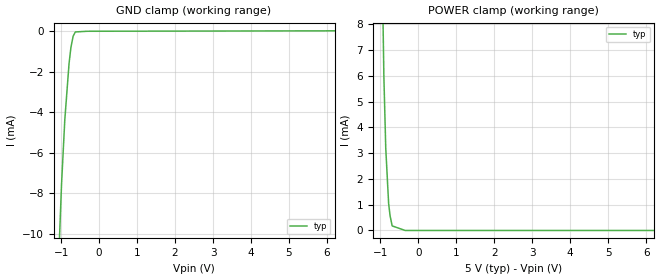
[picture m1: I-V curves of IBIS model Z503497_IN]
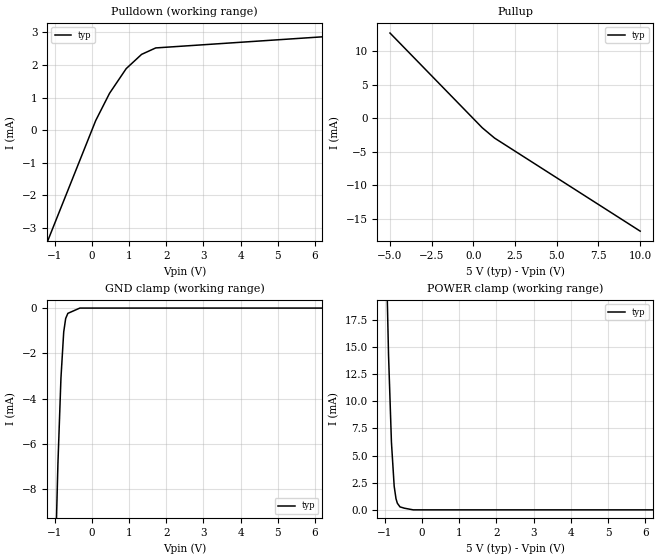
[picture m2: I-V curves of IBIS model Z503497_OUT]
| YOU ARE ONLY AUTHORIZED TO USE THIS SOFTWARE
| ACCORDING TO LICENSOR'S LICENSE RESTRICTIONS.
[IBIS Ver] 3.1
[File Name] mc14022bcl.ibs
[File Rev] 2.0
[Source] Measured and created by ICX Technology
[Date] Friday 7/14/00 9:07:51 AM
[Copyright]
| (C) COPYRIGHT 1993-2000
| MENTOR GRAPHICS CORPORATION
| ICX STANDARD LIBRARY, ICX PROJECT MODELING,
| ICX CUSTOM MODELING, ICX VENDOR MODEL
| ALL RIGHTS RESERVED.
| THE FOLLOWING ARE TRADEMARKS OR SERVICE MARKS OF
| MENTOR GRAPHICS CORPORATION:ICX (R), ICX STANDARD
| LIBRARY(R), ICX PROJECT MODELING(R), ICX CUSTOM
| MODELING(R), qualityIBIS(TM), MODELVIEWER(TM),
| AND MODELEDITOR(TM)
| ALL COPIES OF SOFTWARE, INCLUDING BUT NOT LIMITED TO
| ANY MODIFICATIONS, ENHANCEMENTS OR DERIVATIVE WORKS,
| MUST CONTAIN ALL MENTOR GRAPHICS CORPORATION'S
| NOTICES AND LEGENDS, INCLUDING THOSE EMBEDDED IN
| SOFTWARE AND THOSE AFFIXED TO SOFTWARE MEDIUM
| AND CONTAINER, AS RECEIVED FROM MENTOR GRAPHICS
| CORPORATION.
|  ZAP Model Builder 2.7
[Component] MC14022BCL
[Manufacturer] OnSemiconductor
[Package]
| variable   typ   min   max
R_pkg  .212ohms NA NA
L_pkg  4.758nH NA NA
C_pkg  1.944pF NA NA
[Pin] signal_name  model_name  R_pin  L_pin C_pin
1 Q1 Z503497_OUT .224 7.258n 2.683p
2 Q0 Z503497_OUT .216 5.258n 2.19p
3 Q2 Z503497_OUT .208 3.758n 1.697p
4 Q5 Z503497_OUT .2 2.758n 1.204p
5 Q6 Z503497_OUT .2 2.758n 1.204p
6 NC NC .208 3.758n 1.697p
7 Q3 Z503497_OUT .216 5.258n 2.19p
8 VSS POWER .224 7.258n 2.683p
9 NC NC .224 7.258n 2.683p
10 Q7 Z503497_OUT .216 5.258n 2.19p
11 Q4 Z503497_OUT .208 3.758n 1.697p
12 COUT Z503497_OUT .2 2.758n 1.204p
13 _CE Z503497_IN .2 2.758n 1.204p
14 C Z503497_IN .208 3.758n 1.697p
15 R Z503497_IN .216 5.258n 2.19p
16 VDD POWER .224 7.258n 2.683p
| Models and submodels in the file (2): Z503497_IN (Input), Z503497_OUT (Output)
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| (C) COPYRIGHT 1993-2000
| MENTOR GRAPHICS CORPORATION
| ICX STANDARD LIBRARY, ICX PROJECT MODELING,
| ICX CUSTOM MODELING, ICX VENDOR MODEL
| ALL RIGHTS RESERVED.
| THE FOLLOWING ARE TRADEMARKS OR SERVICE MARKS OF
| MENTOR GRAPHICS CORPORATION:ICX (R), ICX STANDARD
| LIBRARY(R), ICX PROJECT MODELING(R), ICX CUSTOM
| MODELING(R), qualityIBIS(TM), MODELVIEWER(TM),
| AND MODELEDITOR(TM)
| ALL COPIES OF SOFTWARE, INCLUDING BUT NOT LIMITED TO
| ANY MODIFICATIONS, ENHANCEMENTS OR DERIVATIVE WORKS,
| MUST CONTAIN ALL MENTOR GRAPHICS CORPORATION'S
| NOTICES AND LEGENDS, INCLUDING THOSE EMBEDDED IN
| SOFTWARE AND THOSE AFFIXED TO SOFTWARE MEDIUM
| AND CONTAINER, AS RECEIVED FROM MENTOR GRAPHICS
| CORPORATION.
| Model Application Version 1.89 2/18/99.
[Model] Z503497_IN
Model_type Input
Vinl = 1.500V
Vinh = 3.500V
C_comp 4.000pF NA NA
| variable typ   min   max
[Voltage Range] 5.000V NA NA
[GND Clamp Reference] 0.000V NA NA
[POWER Clamp Reference] 5.000V NA NA
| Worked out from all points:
|   GND clamp passes 1 mA (typ) near -0.75 V on its own axis
|   POWER clamp passes 1 mA (typ) near -0.78 V on its own axis
[GND Clamp]
-5V       -408.6mA   NA         NA
-1.308V   -27.72mA   NA         NA
-1.123V   -14.17mA   NA         NA
-989.2mV  -7.567mA   NA         NA
-903.3mV  -4.385mA   NA         NA
-791mV    -1.597mA   NA         NA
-742mV    -811uA     NA         NA
-683.6mV  -255uA     NA         NA
-625.1mV  -45.77uA   NA         NA
-312.6mV  -12.87uA   NA         NA
10V       21.7uA     NA         NA
[POWER Clamp]
-5V       696.6mA    NA         NA
-1.2V     42.45mA    NA         NA
-1.03V    17.84mA    NA         NA
-906mV    5.967mA    NA         NA
-857mV    3.204mA    NA         NA
-781mV    1.044mA    NA         NA
-742mV    565.8uA    NA         NA
-688mV    177.8uA    NA         NA
-344mV    0A         NA         NA
10V       0A         NA         NA
| (C) COPYRIGHT 1993-2000
| MENTOR GRAPHICS CORPORATION
| ICX STANDARD LIBRARY, ICX PROJECT MODELING,
| ICX CUSTOM MODELING, ICX VENDOR MODEL
| ALL RIGHTS RESERVED.
| THE FOLLOWING ARE TRADEMARKS OR SERVICE MARKS OF
| MENTOR GRAPHICS CORPORATION:ICX (R), ICX STANDARD
| LIBRARY(R), ICX PROJECT MODELING(R), ICX CUSTOM
| MODELING(R), qualityIBIS(TM), MODELVIEWER(TM),
| AND MODELEDITOR(TM)
| ALL COPIES OF SOFTWARE, INCLUDING BUT NOT LIMITED TO
| ANY MODIFICATIONS, ENHANCEMENTS OR DERIVATIVE WORKS,
| MUST CONTAIN ALL MENTOR GRAPHICS CORPORATION'S
| NOTICES AND LEGENDS, INCLUDING THOSE EMBEDDED IN
| SOFTWARE AND THOSE AFFIXED TO SOFTWARE MEDIUM
| AND CONTAINER, AS RECEIVED FROM MENTOR GRAPHICS
| CORPORATION.
| Model Application Version 1.89 2/18/99.
[Model] Z503497_OUT
Model_type Output
Vref=0.000V
Rref=500.0Mohms
Cref=50.00pF
Vmeas=2.500V
C_comp 8.000pF NA NA
| variable typ   min   max
[Voltage Range] 5.000V NA NA
[POWER Clamp Reference] 5.000V NA NA
[Pullup Reference] 5.000V NA NA
[Pulldown Reference] 0.000V NA NA
[GND Clamp Reference] 0.000V NA NA
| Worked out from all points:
|   slope of the pulldown table from 0 to 0.75 V, typ, clamps not added: 469 ohm
|   slope of the pullup table from 0 to 0.75 V, typ, clamps not added: 414 ohm
|   GND clamp passes 1 mA (typ) near -0.75 V on its own axis
|   POWER clamp passes 1 mA (typ) near -0.70 V on its own axis
[GND Clamp]
-5V       -264.2mA   NA         NA
-911.3mV  -6.866mA   NA         NA
-830.2mV  -3.093mA   NA         NA
-756.1mV  -1.059mA   NA         NA
-703.3mV  -459.7uA   NA         NA
-644.5mV  -233.3uA   NA         NA
-322.3mV  0A         NA         NA
10V       0A         NA         NA
[Pulldown]
-5V       -14.34mA   NA         NA
104mV     290.4uA    NA         NA
475.6mV   1.128mA    NA         NA
924.1mV   1.888mA    NA         NA
1.338V    2.326mA    NA         NA
1.718V    2.524mA    NA         NA
10V       3.155mA    NA         NA
[Pullup]
-5V       12.66mA    NA         NA
533mV     -1.44mA    NA         NA
1.27V     -2.973mA   NA         NA
10V       -16.82mA   NA         NA
[POWER Clamp]
-5V       642.3mA    NA         NA
-903mV    14.3mA     NA         NA
-825mV    6.245mA    NA         NA
-751mV    2.176mA    NA         NA
-702mV    1.02mA     NA         NA
-666mV    611.8uA    NA         NA
-595mV    273.8uA    NA         NA
-477mV    152.6uA    NA         NA
-238.5mV  0A         NA         NA
10V       0A         NA         NA
[Ramp]
| variable typ min max
dV/dt_r 2.595/14.38n NA NA
dV/dt_f 2.595/13.05n NA NA
R_load = 2.500kOhms
